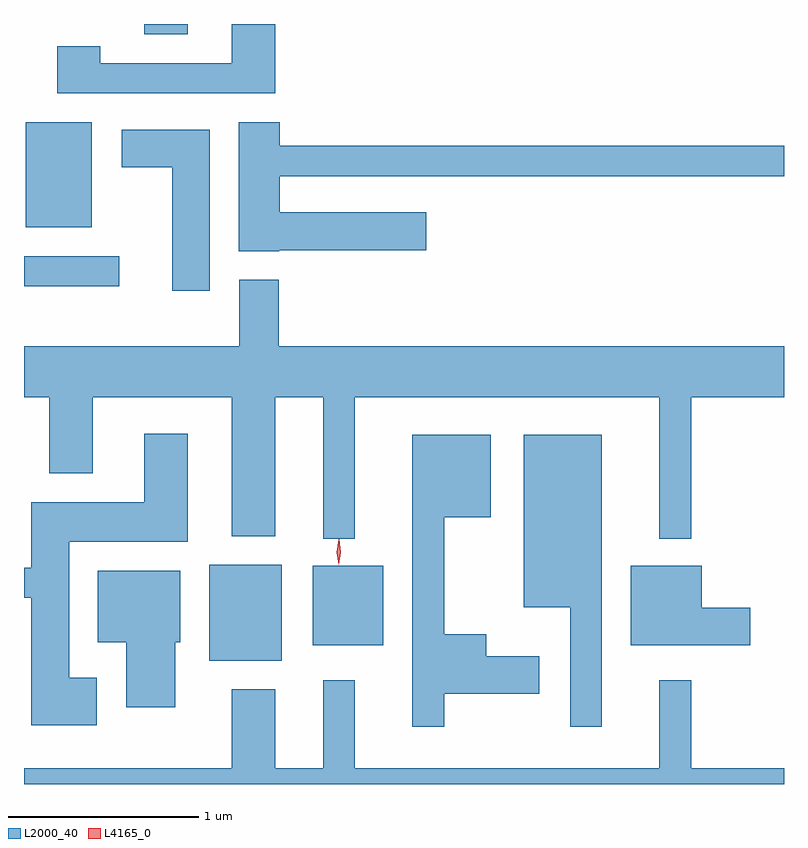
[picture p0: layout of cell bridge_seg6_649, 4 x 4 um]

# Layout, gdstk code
import gdstk
lib = gdstk.Library(unit=1e-6, precision=1e-09)
def R(c, l, rs):  # rectangles x0, y0, x1, y1
    for r in rs: c.add(gdstk.rectangle(r[:2], r[2:], *l))
def P(c, l, *ps):  # polygons
    for p in ps: c.add(gdstk.Polygon(p, *l))
L2000_40 = (2000, 40)
L4165_0 = (4165, 0)

bridge_seg6_649 = lib.new_cell('bridge_seg6_649')
R(bridge_seg6_649, L2000_40, [(240.281,1655.211,240.664,1655.714), (240.826,1655.291,241.199,1655.709), (239.307,1657.181,239.808,1657.339), (239.316,1657.491,239.664,1658.044), (239.941,1658.506,240.169,1658.561)])
P(bridge_seg6_649, L2000_40, [(240.629,1658.561),(240.401,1658.561),(240.401,1658.354),(239.709,1658.354),(239.709,1658.444),(239.481,1658.444),(239.481,1658.196),(240.629,1658.196)],
  [(240.65,1657.371),(241.424,1657.371),(241.424,1657.569),(240.654,1657.569),(240.654,1657.761),(243.307,1657.761),(243.307,1657.919),(240.654,1657.919),(240.654,1658.044),(240.436,1658.044),(240.436,1657.366),(240.65,1657.366)],
  [(240.284,1658.004),(239.821,1658.004),(239.821,1657.806),(240.086,1657.806),(240.086,1657.156),(240.284,1657.156)],
  [(241.049,1656.596),(242.651,1656.596),(242.651,1655.853),(242.819,1655.853),(242.819,1656.596),(243.307,1656.596),(243.307,1656.864),(240.649,1656.864),(240.649,1657.214),(240.441,1657.214),(240.441,1656.864),(239.307,1656.864),(239.307,1656.596),(239.441,1656.596),(239.441,1656.196),(239.669,1656.196),(239.669,1656.596),(240.401,1656.596),(240.401,1655.866),(240.629,1655.866),(240.629,1656.596),(240.881,1656.596),(240.881,1655.853),(241.049,1655.853)],
  [(239.689,1655.119),(239.544,1655.119),(239.544,1655.836),(240.169,1655.836),(240.169,1656.404),(239.941,1656.404),(239.941,1656.044),(239.346,1656.044),(239.346,1655.699),(239.307,1655.699),(239.307,1655.541),(239.346,1655.541),(239.346,1654.871),(239.689,1654.871)],
  [(242.349,1656.399),(241.936,1656.399),(241.936,1655.491),(242.181,1655.491),(242.181,1654.863),(242.349,1654.863)],
  [(241.519,1655.036),(242.019,1655.036),(242.019,1655.234),(241.739,1655.234),(241.739,1655.349),(241.519,1655.349),(241.519,1655.966),(241.764,1655.966),(241.764,1656.399),(241.351,1656.399),(241.351,1654.863),(241.519,1654.863)],
  [(243.129,1655.489),(242.874,1655.489),(242.874,1655.709),(242.501,1655.709),(242.501,1655.291),(243.129,1655.291)],
  [(240.104,1655.306),(240.129,1655.306),(240.129,1655.684),(239.696,1655.684),(239.696,1655.306),(239.846,1655.306),(239.846,1654.966),(240.104,1654.966)],
  [(243.307,1654.644),(242.819,1654.644),(242.819,1655.108),(242.651,1655.108),(242.651,1654.644),(241.049,1654.644),(241.049,1655.108),(240.881,1655.108),(240.881,1654.644),(240.629,1654.644),(240.629,1655.059),(240.401,1655.059),(240.401,1654.644),(239.307,1654.644),(239.307,1654.561),(243.307,1654.561)])
P(bridge_seg6_649, L4165_0, [(240.963,1655.718),(240.963,1655.719),(240.954,1655.783),(240.964,1655.846),(240.965,1655.847),(240.965,1655.846),(240.974,1655.782),(240.964,1655.719)],
  [(240.963,1655.714),(240.954,1655.782),(240.964,1655.85),(240.965,1655.85),(240.965,1655.85),(240.974,1655.782),(240.964,1655.714),(240.964,1655.714)])

lib.write_gds('bridge_seg6_649.gds')
